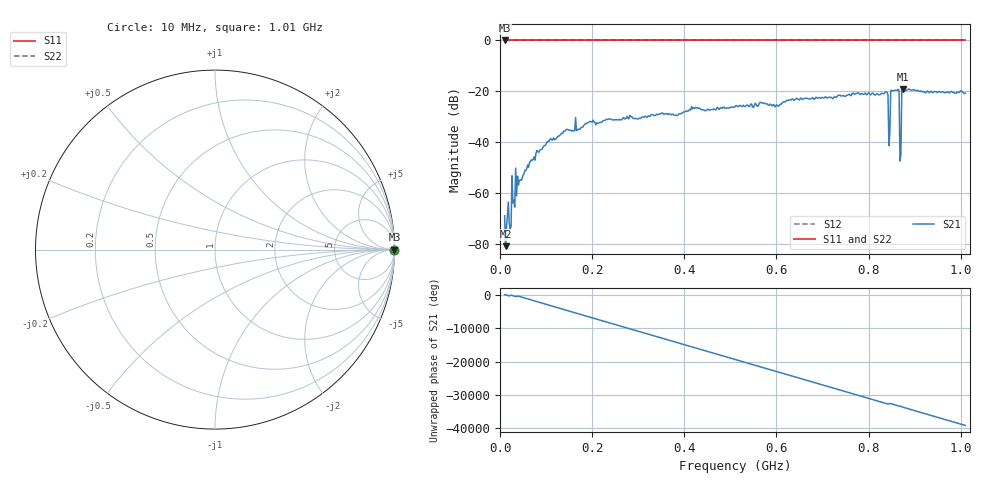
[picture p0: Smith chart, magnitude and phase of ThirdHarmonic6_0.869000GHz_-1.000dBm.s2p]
! 8/16/2025 4:42:12 AM
! C:\ANRITSUVNA\TEMP\TEMP.S2P
! CHANNEL.1
! TR.MEASUREMENT
! RAW.DATA
! RF.CORRECTION.OFF
! AVERAGING.OFF
! IF.BANDWIDTH: 5KHZ
! SWEEPTYPE:  FREQ.SWEEP(Linear)
! Reference Plane Port Info
! PORT:  PORT1  PORT2
! DISTANCE:  0  m  0  m
! TIME:  0  s  0  s
! PHASE.OFFSET:  0  deg.  0  deg.
! LOSS:  0  dB  0  dB
! REF.LOSS:  0  dB  0  dB
! REF.FREQ:  0  Hz  0  Hz
! Power Info
! POWER:  -20  dBm  -20  dBm
! EFF.POWER:  -20  dBm  -20  dBm
! SOURCE.ATTEN:  0  dB  0  dB
! TEST.ATTEN:  0  dB  0  dB
# GHZ S RI R 50.0
! FREQ.GHZ  S11RE  S11IM  S21RE  S21IM  S12RE  S12IM  S22RE  S22IM
!; PortSelection: Port_12
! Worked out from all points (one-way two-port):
!   501 points, 10 MHz to 1.01 GHz, reference 50 ohm
!   highest |S21| = -19.12 dB at 874 MHz (marker M1); lowest = -81.0 dB at 12 MHz (marker M2)
!   lowest |S11| = 0.0 dB at 10 MHz (marker M3)
!   |S11| at or under -10 dB: nowhere
!   |S22| runs from 0.0 to 0.0 dB; largest |S21 - S12| = 1.1
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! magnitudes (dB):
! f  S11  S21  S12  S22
! 10 MHz  0.0  -69.0  0.0  0.0
! 12 MHz  0.0  -81.0  0.0  0.0
! 20 MHz  0.0  -71.7  0.0  0.0
! 30 MHz  0.0  -62.9  0.0  0.0
! 32 MHz  0.0  -65.6  0.0  0.0
! 38 MHz  0.0  -53.4  0.0  0.0
! 82 MHz  0.0  -43.7  0.0  0.0
! 142 MHz  0.0  -35.4  0.0  0.0
! 178 MHz  0.0  -34.2  0.0  0.0
! 344 MHz  0.0  -29.1  0.0  0.0
! 510 MHz  0.0  -26.1  0.0  0.0
! 678 MHz  0.0  -22.5  0.0  0.0
! 836 MHz  0.0  -20.3  0.0  0.0
! 844 MHz  0.0  -41.4  0.0  0.0
! 848 MHz  0.0  -19.8  0.0  0.0
! 852 MHz  0.0  -19.9  0.0  0.0
! 862 MHz  0.0  -19.7  0.0  0.0
! 866 MHz  0.0  -19.6  0.0  0.0
! 872 MHz  0.0  -19.4  0.0  0.0
! 874 MHz  0.0  -19.1  0.0  0.0
! 876 MHz  0.0  -19.5  0.0  0.0
! 1.01 GHz  0.0  -20.8  0.0  0.0
